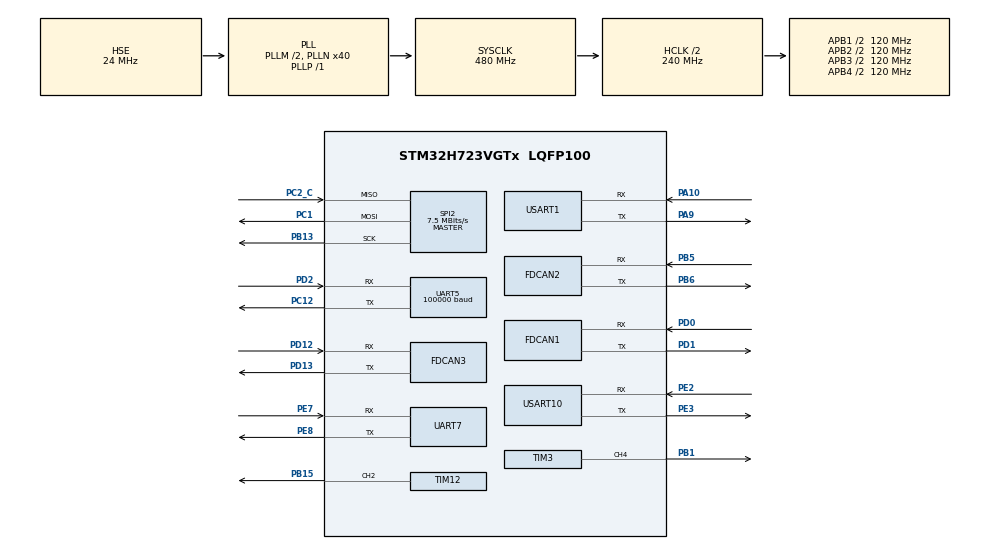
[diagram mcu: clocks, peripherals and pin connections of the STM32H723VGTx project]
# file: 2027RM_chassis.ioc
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CORTEX_M7.CPU_ICache=Disabled
CORTEX_M7.default_mode_Activation=1
Dma.Request0=SPI2_RX
Dma.Request1=SPI2_TX
Dma.Request2=UART5_RX
Dma.Request3=UART7_RX
Dma.Request4=UART7_TX
Dma.Request5=USART1_TX
Dma.Request6=USART10_RX
Dma.SPI2_RX.0.Direction=DMA_PERIPH_TO_MEMORY
Dma.SPI2_RX.0.EventEnable=DISABLE
Dma.SPI2_RX.0.FIFOMode=DMA_FIFOMODE_DISABLE
Dma.SPI2_RX.0.Instance=DMA1_Stream0
Dma.SPI2_RX.0.MemDataAlignment=DMA_MDATAALIGN_BYTE
Dma.SPI2_RX.0.MemInc=DMA_MINC_ENABLE
Dma.SPI2_RX.0.Mode=DMA_NORMAL
Dma.SPI2_RX.0.PeriphDataAlignment=DMA_PDATAALIGN_BYTE
Dma.SPI2_RX.0.PeriphInc=DMA_PINC_DISABLE
Dma.SPI2_RX.0.Polarity=HAL_DMAMUX_REQ_GEN_RISING
Dma.SPI2_RX.0.Priority=DMA_PRIORITY_VERY_HIGH
Dma.SPI2_RX.0.RequestNumber=1
Dma.SPI2_RX.0.SignalID=NONE
Dma.SPI2_RX.0.SyncEnable=DISABLE
Dma.SPI2_RX.0.SyncPolarity=HAL_DMAMUX_SYNC_NO_EVENT
Dma.SPI2_RX.0.SyncRequestNumber=1
Dma.SPI2_RX.0.SyncSignalID=NONE
Dma.SPI2_TX.1.Direction=DMA_MEMORY_TO_PERIPH
Dma.SPI2_TX.1.EventEnable=DISABLE
Dma.SPI2_TX.1.FIFOMode=DMA_FIFOMODE_DISABLE
Dma.SPI2_TX.1.Instance=DMA1_Stream2
Dma.SPI2_TX.1.MemDataAlignment=DMA_MDATAALIGN_BYTE
Dma.SPI2_TX.1.MemInc=DMA_MINC_ENABLE
Dma.SPI2_TX.1.Mode=DMA_NORMAL
Dma.SPI2_TX.1.PeriphDataAlignment=DMA_PDATAALIGN_BYTE
Dma.SPI2_TX.1.PeriphInc=DMA_PINC_DISABLE
Dma.SPI2_TX.1.Polarity=HAL_DMAMUX_REQ_GEN_RISING
Dma.SPI2_TX.1.Priority=DMA_PRIORITY_HIGH
Dma.SPI2_TX.1.RequestNumber=1
Dma.SPI2_TX.1.SignalID=NONE
Dma.SPI2_TX.1.SyncEnable=DISABLE
Dma.SPI2_TX.1.SyncPolarity=HAL_DMAMUX_SYNC_NO_EVENT
Dma.SPI2_TX.1.SyncRequestNumber=1
Dma.SPI2_TX.1.SyncSignalID=NONE
Dma.UART5_RX.2.Direction=DMA_PERIPH_TO_MEMORY
Dma.UART5_RX.2.EventEnable=DISABLE
Dma.UART5_RX.2.FIFOMode=DMA_FIFOMODE_DISABLE
Dma.UART5_RX.2.Instance=DMA1_Stream4
Dma.UART5_RX.2.MemDataAlignment=DMA_MDATAALIGN_BYTE
Dma.UART5_RX.2.MemInc=DMA_MINC_ENABLE
Dma.UART5_RX.2.Mode=DMA_CIRCULAR
Dma.UART5_RX.2.PeriphDataAlignment=DMA_PDATAALIGN_BYTE
Dma.UART5_RX.2.PeriphInc=DMA_PINC_DISABLE
Dma.UART5_RX.2.Polarity=HAL_DMAMUX_REQ_GEN_RISING
Dma.UART5_RX.2.Priority=DMA_PRIORITY_LOW
Dma.UART5_RX.2.RequestNumber=1
Dma.UART5_RX.2.SignalID=NONE
Dma.UART5_RX.2.SyncEnable=DISABLE
Dma.UART5_RX.2.SyncPolarity=HAL_DMAMUX_SYNC_NO_EVENT
Dma.UART5_RX.2.SyncRequestNumber=1
Dma.UART5_RX.2.SyncSignalID=NONE
Dma.UART7_RX.3.Direction=DMA_PERIPH_TO_MEMORY
Dma.UART7_RX.3.EventEnable=DISABLE
Dma.UART7_RX.3.FIFOMode=DMA_FIFOMODE_DISABLE
Dma.UART7_RX.3.Instance=DMA2_Stream6
Dma.UART7_RX.3.MemDataAlignment=DMA_MDATAALIGN_BYTE
Dma.UART7_RX.3.MemInc=DMA_MINC_ENABLE
Dma.UART7_RX.3.Mode=DMA_NORMAL
Dma.UART7_RX.3.PeriphDataAlignment=DMA_PDATAALIGN_BYTE
Dma.UART7_RX.3.PeriphInc=DMA_PINC_DISABLE
Dma.UART7_RX.3.Polarity=HAL_DMAMUX_REQ_GEN_RISING
Dma.UART7_RX.3.Priority=DMA_PRIORITY_LOW
Dma.UART7_RX.3.RequestNumber=1
Dma.UART7_RX.3.SignalID=NONE
Dma.UART7_RX.3.SyncEnable=DISABLE
Dma.UART7_RX.3.SyncPolarity=HAL_DMAMUX_SYNC_NO_EVENT
Dma.UART7_RX.3.SyncRequestNumber=1
Dma.UART7_RX.3.SyncSignalID=NONE
Dma.UART7_TX.4.Direction=DMA_MEMORY_TO_PERIPH
Dma.UART7_TX.4.EventEnable=DISABLE
Dma.UART7_TX.4.FIFOMode=DMA_FIFOMODE_DISABLE
Dma.UART7_TX.4.Instance=DMA1_Stream1
Dma.UART7_TX.4.MemDataAlignment=DMA_MDATAALIGN_BYTE
Dma.UART7_TX.4.MemInc=DMA_MINC_ENABLE
Dma.UART7_TX.4.Mode=DMA_NORMAL
Dma.UART7_TX.4.PeriphDataAlignment=DMA_PDATAALIGN_BYTE
Dma.UART7_TX.4.PeriphInc=DMA_PINC_DISABLE
Dma.UART7_TX.4.Polarity=HAL_DMAMUX_REQ_GEN_RISING
Dma.UART7_TX.4.Priority=DMA_PRIORITY_LOW
Dma.UART7_TX.4.RequestNumber=1
Dma.UART7_TX.4.SignalID=NONE
Dma.UART7_TX.4.SyncEnable=DISABLE
Dma.UART7_TX.4.SyncPolarity=HAL_DMAMUX_SYNC_NO_EVENT
Dma.UART7_TX.4.SyncRequestNumber=1
Dma.UART7_TX.4.SyncSignalID=NONE
Dma.USART10_RX.6.Direction=DMA_PERIPH_TO_MEMORY
Dma.USART10_RX.6.EventEnable=DISABLE
Dma.USART10_RX.6.FIFOMode=DMA_FIFOMODE_DISABLE
Dma.USART10_RX.6.Instance=DMA1_Stream3
Dma.USART10_RX.6.MemDataAlignment=DMA_MDATAALIGN_BYTE
Dma.USART10_RX.6.MemInc=DMA_MINC_ENABLE
Dma.USART10_RX.6.Mode=DMA_NORMAL
Dma.USART10_RX.6.PeriphDataAlignment=DMA_PDATAALIGN_BYTE
Dma.USART10_RX.6.PeriphInc=DMA_PINC_DISABLE
Dma.USART10_RX.6.Polarity=HAL_DMAMUX_REQ_GEN_RISING
Dma.USART10_RX.6.Priority=DMA_PRIORITY_MEDIUM
Dma.USART10_RX.6.RequestNumber=1
Dma.USART10_RX.6.SignalID=NONE
Dma.USART10_RX.6.SyncEnable=DISABLE
Dma.USART10_RX.6.SyncPolarity=HAL_DMAMUX_SYNC_NO_EVENT
Dma.USART10_RX.6.SyncRequestNumber=1
Dma.USART10_RX.6.SyncSignalID=NONE
Dma.USART1_TX.5.Direction=DMA_MEMORY_TO_PERIPH
Dma.USART1_TX.5.EventEnable=DISABLE
Dma.USART1_TX.5.FIFOMode=DMA_FIFOMODE_DISABLE
Dma.USART1_TX.5.Instance=DMA2_Stream0
Dma.USART1_TX.5.MemDataAlignment=DMA_MDATAALIGN_BYTE
Dma.USART1_TX.5.MemInc=DMA_MINC_ENABLE
Dma.USART1_TX.5.Mode=DMA_NORMAL
Dma.USART1_TX.5.PeriphDataAlignment=DMA_PDATAALIGN_BYTE
Dma.USART1_TX.5.PeriphInc=DMA_PINC_DISABLE
Dma.USART1_TX.5.Polarity=HAL_DMAMUX_REQ_GEN_RISING
Dma.USART1_TX.5.Priority=DMA_PRIORITY_LOW
Dma.USART1_TX.5.RequestNumber=1
Dma.USART1_TX.5.SignalID=NONE
Dma.USART1_TX.5.SyncEnable=DISABLE
Dma.USART1_TX.5.SyncPolarity=HAL_DMAMUX_SYNC_NO_EVENT
Dma.USART1_TX.5.SyncRequestNumber=1
Dma.USART1_TX.5.SyncSignalID=NONE
FDCAN1.AutoRetransmission=ENABLE
FDCAN1.CalculateBaudRateNominal=1000000
FDCAN1.CalculateTimeBitNominal=1000
FDCAN1.CalculateTimeQuantumNominal=50.0
FDCAN1.DataPrescaler=1
FDCAN1.DataTimeSeg1=15
FDCAN1.DataTimeSeg2=4
FDCAN1.FrameFormat=FDCAN_FRAME_FD_BRS
FDCAN1.NominalPrescaler=5
FDCAN1.NominalSyncJumpWidth=4
FDCAN1.NominalTimeSeg1=15
FDCAN1.NominalTimeSeg2=4
FDCAN1.ProtocolException=ENABLE
FDCAN1.RxFifo0ElmtSize=FDCAN_DATA_BYTES_64
FDCAN1.RxFifo0ElmtsNbr=16
FDCAN1.RxFifo1ElmtSize=FDCAN_DATA_BYTES_64
FDCAN1.StdFiltersNbr=1
FDCAN1.TxElmtSize=FDCAN_DATA_BYTES_64
FDCAN1.TxFifoQueueElmtsNbr=8
FDCAN2.AutoRetransmission=ENABLE
FDCAN2.CalculateBaudRateNominal=1000000
FDCAN2.CalculateTimeBitNominal=1000
FDCAN2.CalculateTimeQuantumNominal=50.0
FDCAN2.DataPrescaler=5
FDCAN2.DataTimeSeg1=14
FDCAN2.DataTimeSeg2=5
FDCAN2.MessageRAMOffset=512
FDCAN2.NominalPrescaler=5
FDCAN2.NominalSyncJumpWidth=4
FDCAN2.NominalTimeSeg1=14
FDCAN2.NominalTimeSeg2=5
FDCAN2.RxFifo0ElmtsNbr=0
FDCAN2.RxFifo1ElmtsNbr=8
FDCAN2.StdFiltersNbr=1
FDCAN2.TxFifoQueueElmtsNbr=3
FDCAN3.AutoRetransmission=ENABLE
FDCAN3.CalculateBaudRateNominal=1000000
FDCAN3.CalculateTimeBitNominal=1000
FDCAN3.CalculateTimeQuantumNominal=50.0
FDCAN3.DataPrescaler=5
FDCAN3.DataTimeSeg1=14
FDCAN3.DataTimeSeg2=5
FDCAN3.MessageRAMOffset=1709
FDCAN3.NominalPrescaler=5
FDCAN3.NominalSyncJumpWidth=1
FDCAN3.NominalTimeSeg1=14
FDCAN3.NominalTimeSeg2=5
FDCAN3.RxFifo0ElmtsNbr=4
FDCAN3.StdFiltersNbr=1
FDCAN3.TxElmtSize=FDCAN_DATA_BYTES_24
FDCAN3.TxFifoQueueElmtsNbr=4
FREERTOS.Tasks01=defaultTask,24,128,StartDefaultTask,Default,NULL,Dynamic,NULL,NULL;Chassis_Task,32,512,chassis_task,Default,NULL,Dynamic,NULL,NULL;IMU_task,48,1024,imu_task,Default,NULL,Dynamic,NULL,NULL;Talk_Task,24,128,Talk_Task_start,Default,NULL,Dynamic,NULL,NULL
Mcu.Family=STM32H7
Mcu.Name=STM32H723VGTx
Mcu.Package=LQFP100
NVIC.DMA1_Stream0_IRQn=true\:5\:0\:false\:false\:true\:true\:false\:true\:true
NVIC.DMA1_Stream1_IRQn=true\:5\:0\:false\:false\:true\:true\:false\:true\:true
NVIC.DMA1_Stream2_IRQn=true\:5\:0\:false\:false\:true\:true\:false\:true\:true
NVIC.DMA1_Stream3_IRQn=true\:5\:0\:false\:false\:true\:true\:false\:true\:true
NVIC.DMA1_Stream4_IRQn=true\:5\:0\:false\:false\:true\:true\:false\:true\:true
NVIC.DMA2_Stream0_IRQn=true\:5\:0\:false\:false\:true\:false\:false\:true\:true
NVIC.DMA2_Stream6_IRQn=true\:5\:0\:false\:false\:true\:false\:false\:true\:true
NVIC.FDCAN1_IT0_IRQn=true\:5\:0\:false\:false\:true\:true\:true\:true\:true
NVIC.FDCAN2_IT0_IRQn=true\:5\:0\:false\:false\:true\:true\:true\:true\:true
NVIC.FDCAN3_IT0_IRQn=true\:5\:0\:false\:false\:true\:true\:true\:true\:true
NVIC.PriorityGroup=NVIC_PRIORITYGROUP_4
NVIC.SPI2_IRQn=true\:5\:0\:false\:false\:true\:true\:false\:true\:true
NVIC.TIM4_IRQn=true\:15\:0\:false\:false\:true\:false\:false\:true\:true
NVIC.TimeBase=TIM4_IRQn
NVIC.TimeBaseIP=TIM4
NVIC.UART5_IRQn=true\:5\:0\:false\:false\:true\:true\:true\:true\:true
NVIC.UART7_IRQn=true\:5\:0\:false\:false\:true\:true\:true\:true\:true
NVIC.USART10_IRQn=true\:5\:0\:false\:false\:true\:true\:true\:true\:true
NVIC.USART1_IRQn=true\:5\:0\:false\:false\:true\:true\:true\:true\:true
PA10.Mode=Asynchronous
PA10.Signal=USART1_RX
PA9.Mode=Asynchronous
PA9.Signal=USART1_TX
PB1.Signal=S_TIM3_CH4
PB13.Mode=Full_Duplex_Master
PB13.Signal=SPI2_SCK
PB15.Signal=S_TIM12_CH2
PB5.Mode=FDCAN_Activate
PB5.Signal=FDCAN2_RX
PB6.Mode=FDCAN_Activate
PB6.Signal=FDCAN2_TX
PC1.Mode=Full_Duplex_Master
PC1.Signal=SPI2_MOSI
PC12.Mode=Asynchronous
PC12.Signal=UART5_TX
PC2_C.Mode=Full_Duplex_Master
PC2_C.Signal=SPI2_MISO
PD0.Mode=FDCAN_Activate
PD0.Signal=FDCAN1_RX
PD1.Mode=FDCAN_Activate
PD1.Signal=FDCAN1_TX
PD12.Mode=FDCAN_Activate
PD12.Signal=FDCAN3_RX
PD13.Mode=FDCAN_Activate
PD13.Signal=FDCAN3_TX
PD2.Mode=Asynchronous
PD2.Signal=UART5_RX
PE2.Mode=Asynchronous
PE2.Signal=USART10_RX
PE3.Mode=Asynchronous
PE3.Signal=USART10_TX
PE7.Mode=Asynchronous
PE7.Signal=UART7_RX
PE8.Mode=Asynchronous
PE8.Signal=UART7_TX
PH0-OSC_IN.Mode=HSE-External-Oscillator
PH0-OSC_IN.Signal=RCC_OSC_IN
PH1-OSC_OUT.Mode=HSE-External-Oscillator
PH1-OSC_OUT.Signal=RCC_OSC_OUT
ProjectManager.HeapSize=0x200
ProjectManager.StackSize=0x400
ProjectManager.TargetToolchain=MDK-ARM V5.32
RCC.ADCFreq_Value=100000000
RCC.APB1Freq_Value=120000000
RCC.APB2Freq_Value=120000000
RCC.APB3Freq_Value=120000000
RCC.APB4Freq_Value=120000000
RCC.CortexFreq_Value=480000000
RCC.D1PPRE=RCC_APB3_DIV2
RCC.D2PPRE1=RCC_APB1_DIV2
RCC.D2PPRE2=RCC_APB2_DIV2
RCC.D3PPRE=RCC_APB4_DIV2
RCC.DIVM1=2
RCC.DIVM2=24
RCC.DIVN1=40
RCC.DIVN2=200
RCC.DIVP1=1
RCC.FDCANCLockSelection=RCC_FDCANCLKSOURCE_PLL2
RCC.HCLKFreq_Value=240000000
RCC.HPRE=RCC_HCLK_DIV2
RCC.HSE_VALUE=24000000
RCC.PLL2FRACN=0
RCC.PLLFRACN=0
RCC.PLLSourceVirtual=RCC_PLLSOURCE_HSE
RCC.SYSCLKFreq_VALUE=480000000
RCC.SYSCLKSource=RCC_SYSCLKSOURCE_PLLCLK
RCC.USBFreq_Value=240000000
SH.S_TIM12_CH2.0=TIM12_CH2,PWM Generation2 CH2
SH.S_TIM3_CH4.0=TIM3_CH4,PWM Generation4 CH4
SPI2.BaudRatePrescaler=SPI_BAUDRATEPRESCALER_32
SPI2.CLKPhase=SPI_PHASE_2EDGE
SPI2.CLKPolarity=SPI_POLARITY_HIGH
SPI2.CalculateBaudRate=7.5 MBits/s
SPI2.DataSize=SPI_DATASIZE_8BIT
SPI2.Direction=SPI_DIRECTION_2LINES
SPI2.Mode=SPI_MODE_MASTER
SPI2.VirtualType=VM_MASTER
TIM12.Channel-PWM\ Generation2\ CH2=TIM_CHANNEL_2
TIM3.Channel-PWM\ Generation4\ CH4=TIM_CHANNEL_4
TIM5.Prescaler=240-1
TIM7.Prescaler=240-1
UART5.BaudRate=100000
UART5.StopBits=UART_STOPBITS_2
UART5.WordLength=WORDLENGTH_9B
USART1.VirtualMode-Asynchronous=VM_ASYNC
USART10.VirtualMode=VM_ASYNC
VP_FREERTOS_VS_CMSIS_V2.Mode=CMSIS_V2
VP_MEMORYMAP_VS_MEMORYMAP.Mode=CurAppReg
VP_SYS_VS_tim4.Mode=TIM4
VP_TIM5_VS_ClockSourceINT.Mode=Internal
VP_TIM7_VS_ClockSourceINT.Mode=Enable_Timer
board=custom

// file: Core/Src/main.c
/* USER CODE BEGIN Header */
/**
  ******************************************************************************
  * @file           : main.c
  * @brief          : Main program body
  ******************************************************************************
  * @attention
  *
  * Copyright (c) 2026 STMicroelectronics.
  * All rights reserved.
  *
  * This software is licensed under terms that can be found in the LICENSE file
  * in the root directory of this software component.
  * If no LICENSE file comes with this software, it is provided AS-IS.
  *
  ******************************************************************************
  */
/* USER CODE END Header */
#include "main.h"
#include "FreeRTOS.h"
#include "cmsis_os2.h"
#include "dma.h"
#include "fdcan.h"
#include "spi.h"
#include "tim.h"
#include "usart.h"
#include "gpio.h"

/* USER CODE BEGIN Includes */
#include "chassis_task.h"
#include "CAN_cmd_damiao.h"
#include "motor.h"
/* USER CODE END Includes */

void SystemClock_Config(void);
void PeriphCommonClock_Config(void);
static void MPU_Config(void);
void MX_FREERTOS_Init(void);

/* USER CODE BEGIN 0 */
extern Chassis_s CHASSIS;
/* USER CODE END 0 */

int main(void)
{

  /* MPU Configuration--------------------------------------------------------*/
  MPU_Config();

  /* MCU Configuration--------------------------------------------------------*/

  /* Reset of all peripherals, Initializes the Flash interface and the Systick. */
  HAL_Init();

  /* Configure the system clock */
  SystemClock_Config();

  /* Configure the peripherals common clocks */
  PeriphCommonClock_Config();

  /* Initialize all configured peripherals */
  MX_GPIO_Init();
  MX_DMA_Init();
  MX_FDCAN1_Init();
  MX_FDCAN2_Init();
  MX_FDCAN3_Init();
  MX_SPI2_Init();
  MX_TIM3_Init();
  MX_TIM5_Init();
  MX_TIM7_Init();
  MX_TIM12_Init();
  MX_UART5_Init();
  MX_UART7_Init();
  MX_USART1_UART_Init();
  MX_USART10_UART_Init();
  /* USER CODE BEGIN 2 */
		FDCAN1_Config();
	FDCAN2_Config();
  FDCAN3_Config();

	MotorInit(&CHASSIS.joint_motor[2],
          3, JOINT_CAN, DM_8009,
          J0_DIRECTION, 1, DM_MODE_MIT);

DmEnable(&CHASSIS.joint_motor[2]);

	MotorInit(&CHASSIS.joint_motor[3],
          4, JOINT_CAN, DM_8009,
          J0_DIRECTION, 1, DM_MODE_MIT);

DmEnable(&CHASSIS.joint_motor[3]);

	MotorInit(&CHASSIS.joint_motor[0],
          1, JOINT_CAN, DM_8009,
          J0_DIRECTION, 1, DM_MODE_MIT);

DmEnable(&CHASSIS.joint_motor[0]);

	MotorInit(&CHASSIS.joint_motor[1],
          2, JOINT_CAN, DM_8009,
          J0_DIRECTION, 1, DM_MODE_MIT);

DmEnable(&CHASSIS.joint_motor[1]);
HAL_Delay(10);
  /* USER CODE END 2 */

  /* Init scheduler */
//  osKernelInitialize();  /* Call init function for freertos objects (in cmsis_os2.c) */
 // MX_FREERTOS_Init();

  /* Start scheduler */
//  osKernelStart();

  /* We should never get here as control is now taken by the scheduler */

  /* Infinite loop */
  while (1)
  {
      GetMotorMeasure(&CHASSIS.joint_motor[1]);
      GetMotorMeasure(&CHASSIS.joint_motor[0]);
      GetMotorMeasure(&CHASSIS.joint_motor[3]);
		  GetMotorMeasure(&CHASSIS.joint_motor[2]);

      CHASSIS.joint_motor[0].set.tor = 0.0f;
		  CHASSIS.joint_motor[1].set.tor = 0.0f;
   		CHASSIS.joint_motor[2].set.tor = 0.0f;
		  CHASSIS.joint_motor[3].set.tor = 0.0f;
      DmMitCtrlTorque(&CHASSIS.joint_motor[0]);
      DmMitCtrlTorque(&CHASSIS.joint_motor[1]);
      DmMitCtrlTorque(&CHASSIS.joint_motor[2]);
      DmMitCtrlTorque(&CHASSIS.joint_motor[3]);

		HAL_Delay(1);
  }
}

void SystemClock_Config(void)
{
  RCC_OscInitTypeDef RCC_OscInitStruct = {0};
  RCC_ClkInitTypeDef RCC_ClkInitStruct = {0};

  /** Supply configuration update enable
  */
  HAL_PWREx_ConfigSupply(PWR_LDO_SUPPLY);

  /** Configure the main internal regulator output voltage
  */
  __HAL_PWR_VOLTAGESCALING_CONFIG(PWR_REGULATOR_VOLTAGE_SCALE0);

  while(!__HAL_PWR_GET_FLAG(PWR_FLAG_VOSRDY)) {}

  /** Initializes the RCC Oscillators according to the specified parameters
  * in the RCC_OscInitTypeDef structure.
  */
  RCC_OscInitStruct.OscillatorType = RCC_OSCILLATORTYPE_HSE;
  RCC_OscInitStruct.HSEState = RCC_HSE_ON;
  RCC_OscInitStruct.PLL.PLLState = RCC_PLL_ON;
  RCC_OscInitStruct.PLL.PLLSource = RCC_PLLSOURCE_HSE;
  RCC_OscInitStruct.PLL.PLLM = 2;
  RCC_OscInitStruct.PLL.PLLN = 40;
  RCC_OscInitStruct.PLL.PLLP = 1;
  RCC_OscInitStruct.PLL.PLLQ = 2;
  RCC_OscInitStruct.PLL.PLLR = 2;
  RCC_OscInitStruct.PLL.PLLRGE = RCC_PLL1VCIRANGE_3;
  RCC_OscInitStruct.PLL.PLLVCOSEL = RCC_PLL1VCOWIDE;
  RCC_OscInitStruct.PLL.PLLFRACN = 0;
  if (HAL_RCC_OscConfig(&RCC_OscInitStruct) != HAL_OK)
  {
    Error_Handler();
  }

  /** Initializes the CPU, AHB and APB buses clocks
  */
  RCC_ClkInitStruct.ClockType = RCC_CLOCKTYPE_HCLK|RCC_CLOCKTYPE_SYSCLK
                              |RCC_CLOCKTYPE_PCLK1|RCC_CLOCKTYPE_PCLK2
                              |RCC_CLOCKTYPE_D3PCLK1|RCC_CLOCKTYPE_D1PCLK1;
  RCC_ClkInitStruct.SYSCLKSource = RCC_SYSCLKSOURCE_PLLCLK;
  RCC_ClkInitStruct.SYSCLKDivider = RCC_SYSCLK_DIV1;
  RCC_ClkInitStruct.AHBCLKDivider = RCC_HCLK_DIV2;
  RCC_ClkInitStruct.APB3CLKDivider = RCC_APB3_DIV2;
  RCC_ClkInitStruct.APB1CLKDivider = RCC_APB1_DIV2;
  RCC_ClkInitStruct.APB2CLKDivider = RCC_APB2_DIV2;
  RCC_ClkInitStruct.APB4CLKDivider = RCC_APB4_DIV2;

  if (HAL_RCC_ClockConfig(&RCC_ClkInitStruct, FLASH_LATENCY_3) != HAL_OK)
  {
    Error_Handler();
  }
}

void PeriphCommonClock_Config(void)
{
  RCC_PeriphCLKInitTypeDef PeriphClkInitStruct = {0};

  /** Initializes the peripherals clock
  */
  PeriphClkInitStruct.PeriphClockSelection = RCC_PERIPHCLK_FDCAN;
  PeriphClkInitStruct.PLL2.PLL2M = 24;
  PeriphClkInitStruct.PLL2.PLL2N = 200;
  PeriphClkInitStruct.PLL2.PLL2P = 2;
  PeriphClkInitStruct.PLL2.PLL2Q = 2;
  PeriphClkInitStruct.PLL2.PLL2R = 2;
  PeriphClkInitStruct.PLL2.PLL2RGE = RCC_PLL2VCIRANGE_0;
  PeriphClkInitStruct.PLL2.PLL2VCOSEL = RCC_PLL2VCOMEDIUM;
  PeriphClkInitStruct.PLL2.PLL2FRACN = 0;
  PeriphClkInitStruct.FdcanClockSelection = RCC_FDCANCLKSOURCE_PLL2;
  if (HAL_RCCEx_PeriphCLKConfig(&PeriphClkInitStruct) != HAL_OK)
  {
    Error_Handler();
  }
}

 /* MPU Configuration */

void MPU_Config(void)
{
  MPU_Region_InitTypeDef MPU_InitStruct = {0};

  /* Disables the MPU */
  HAL_MPU_Disable();

  /** Initializes and configures the Region and the memory to be protected
  */
  MPU_InitStruct.Enable = MPU_REGION_ENABLE;
  MPU_InitStruct.Number = MPU_REGION_NUMBER0;
  MPU_InitStruct.BaseAddress = 0x0;
  MPU_InitStruct.Size = MPU_REGION_SIZE_4GB;
  MPU_InitStruct.SubRegionDisable = 0x87;
  MPU_InitStruct.TypeExtField = MPU_TEX_LEVEL0;
  MPU_InitStruct.AccessPermission = MPU_REGION_NO_ACCESS;
  MPU_InitStruct.DisableExec = MPU_INSTRUCTION_ACCESS_DISABLE;
  MPU_InitStruct.IsShareable = MPU_ACCESS_SHAREABLE;
  MPU_InitStruct.IsCacheable = MPU_ACCESS_NOT_CACHEABLE;
  MPU_InitStruct.IsBufferable = MPU_ACCESS_NOT_BUFFERABLE;

  HAL_MPU_ConfigRegion(&MPU_InitStruct);
  /* Enables the MPU */
  HAL_MPU_Enable(MPU_PRIVILEGED_DEFAULT);

}

void HAL_TIM_PeriodElapsedCallback(TIM_HandleTypeDef *htim)
{
  if (htim->Instance == TIM4)
  {
    HAL_IncTick();
  }
}

void Error_Handler(void)
{
  __disable_irq();
  while (1)
  {
  }
}
